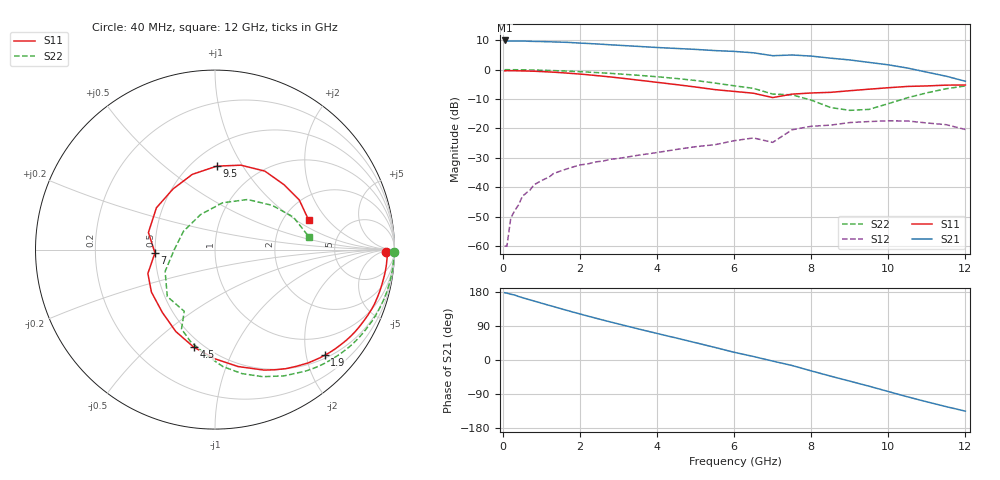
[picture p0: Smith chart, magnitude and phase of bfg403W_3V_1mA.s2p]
! Filename: 31bfg403.001
! BFG403W Field A1
! V1=8.434E-001V,V2=3.000E+000V, I1=1.250E-005A, I2=1.000E-003A
# GHz  S  MA  R 50
!  S11  S21  S12  S22
!Freq(GHz)  Mag  Ang  Mag  Ang  Mag  Ang  Mag  Ang
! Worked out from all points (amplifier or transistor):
!   44 points, 40 MHz to 12 GHz, reference 50 ohm
!   highest |S21| = 9.9 dB at 40 MHz (marker M1)
!   |S21| within 3 dB of that: start of sweep to 4.938 GHz
!   unconditionally stable (mu >= 1): 3.065 GHz to end of sweep
!   at 700 MHz: K = 0.15, MSG = 25.3 dB, |S12| = -40.9 dB
!   at 2.4 GHz: K = 0.66, MSG = 20.1 dB, |S12| = -31.4 dB
!   at 12 GHz: K = 4.17, MAG = -0.9 dB, |S12| = -20.4 dB
!   S11 on the Smith chart (normalised r, x): 40 MHz: 38, -10; 1.9 GHz: 0.56, -2.37; 4.5 GHz: 0.45, -0.70; 7 GHz: 0.50, -0.02; 9.5 GHz: 0.65, +0.78; 12 GHz: 2.73, +1.29
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0.04  0.952 -0.7  3.129 177.6  0.001 36.6  0.996 -0.6
0.1  0.96 -2.4  3.065 176.4  0.001 90.6  0.997 -1.8
0.2  0.959 -4.7  3.058 173.5  0.003 85.5  0.996 -3.7
0.5  0.95 -11.9  3.068 164.6  0.007 79.6  0.992 -9.3
1.2  0.912 -28.0  2.973 144.0  0.015 68.6  0.967 -22.3
1.9  0.849 -43.9  2.848 124.2  0.023 58.0  0.929 -34.6
2.2  0.818 -50.4  2.779 115.9  0.025 54.3  0.908 -39.8
3  0.725 -67.8  2.592 95.0  0.031 46.4  0.845 -53.2
3.5  0.664 -78.9  2.482 82.3  0.035 42.9  0.802 -61.3
4.5  0.556 -102.3  2.288 57.9  0.044 37.5  0.707 -77.7
5.5  0.457 -129.9  2.105 33.1  0.053 29.5  0.591 -94.5
6  0.426 -146.3  2.038 20.3  0.062 22.7  0.531 -104.8
6.5  0.397 -160.4  1.93 9.2  0.069 24.5  0.48 -112.9
7  0.335 -176.9  1.723 -2.9  0.058 25.6  0.384 -116.5
7.5  0.383 165.6  1.772 -14.5  0.095 15.7  0.373 -135.5
8  0.401 144.5  1.698 -28.8  0.109 1.2  0.303 -156.4
8.5  0.411 124.6  1.565 -42.5  0.114 -10.6  0.227 -179.9
9  0.438 106.7  1.46 -55.8  0.126 -21.5  0.203 149.8
9.5  0.465 88.8  1.325 -69.1  0.131 -35.7  0.211 112.6
10.5  0.518 57.6  1.062 -97.2  0.134 -64.4  0.333 57.0
11.5  0.545 30.5  0.773 -123.1  0.116 -94.3  0.473 22.5
12  0.547 17.6  0.634 -135.0  0.096 -112.5  0.528 7.8
